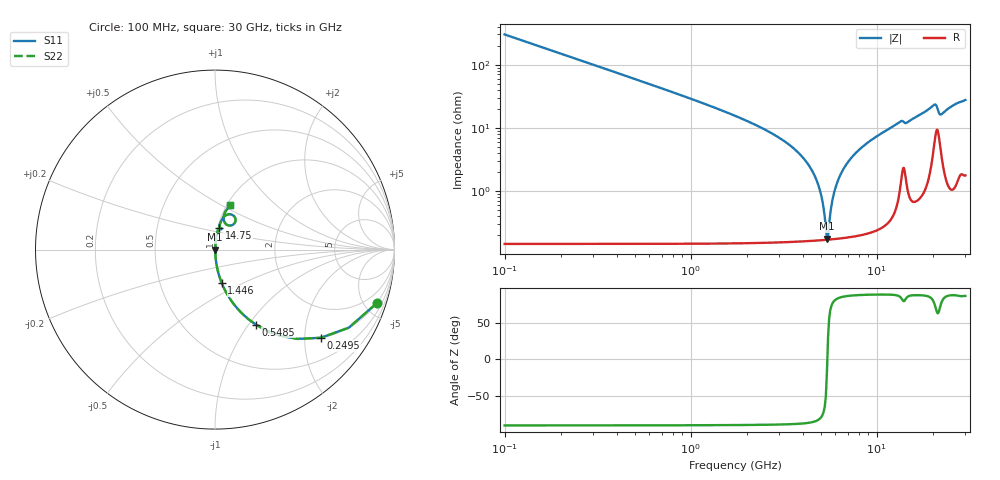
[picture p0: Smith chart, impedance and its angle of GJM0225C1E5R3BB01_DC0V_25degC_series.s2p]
!Murata Part Number: GJM0225C1E5R3BB01
!These Parameters are Measured in Series Mode Connection
!  o--ll--o
!Port1  Port2
!  o------o
!Operation Temp=25[degC], DC Bias Voltage=0[V]
!Freq. Start=100[MHz] Stop=30[GHz], 401[Steps]
!Data Generated on Feb 1, 2023
# Hz S RI R 50
!Freq.(Hz) S11(Real) S11(Imag) S21(Real) S21(Imag) S12(Real) S12(Imag) S22(Real) S22(Imag)
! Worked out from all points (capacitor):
!   401 points, 100 MHz to 30 GHz, reference 50 ohm
!   read as one part in series: C = 5.3 pF near 249.5 MHz
!   lowest |Z| = 178 mohm at 5.407 GHz (marker M1)
!   series resonance near 5.432 GHz, so ESL is about 160 pH
!   S11 on the Smith chart (normalised r, x): 100 MHz: 1.00, -6.00; 249.5 MHz: 1.00, -2.40; 548.5 MHz: 1.00, -1.08; 1.446 GHz: 1.00, -0.39; 14.75 GHz: 1.02, +0.25; 30 GHz: 1.04, +0.55
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1e8  0.9 -0.2998  0.1 0.2998  0.1 0.2998  0.9 -0.2998
2.495e8  0.5905 -0.4911  0.4095 0.4911  0.4095 0.4911  0.5905 -0.4911
5.485e8  0.2276 -0.4179  0.7724 0.4179  0.7724 0.4179  0.2276 -0.4179
8.475e8  0.1078 -0.308  0.8922 0.308  0.8922 0.308  0.1078 -0.308
1.4455e9  0.0373 -0.1856  0.9627 0.1856  0.9627 0.1856  0.0373 -0.1856
4.1365e9  0.00255 -0.0304  0.9975 0.0304  0.9975 0.0304  0.00255 -0.0304
4.7345e9  0.00189 -0.0152  0.9981 0.0152  0.9981 0.0152  0.00189 -0.0152
5.10825e9  0.00173 -0.0068  0.9983 0.0068  0.9983 0.0068  0.00173 -0.0068
5.40725e9  0.00171 -0.0005  0.9983 0.0005  0.9983 0.0005  0.00171 -0.0005
5.55675e9  0.00173 0.00252  0.9983 -0.00252  0.9983 -0.00252  0.00173 0.00252
5.781e9  0.00179 0.00691  0.9982 -0.00691  0.9982 -0.00691  0.00179 0.00691
6.00525e9  0.00188 0.0111  0.9981 -0.0111  0.9981 -0.0111  0.00188 0.0111
6.75275e9  0.00242 0.0244  0.9976 -0.0244  0.9976 -0.0244  0.00242 0.0244
8.09825e9  0.00409 0.0457  0.9959 -0.0457  0.9959 -0.0457  0.00409 0.0457
1.01165e10  0.00801 0.0744  0.992 -0.0744  0.992 -0.0744  0.00801 0.0744
1.34055e10  0.0266 0.1209  0.9734 -0.1209  0.9734 -0.1209  0.0266 0.1209
1.4751e10  0.0244 0.1202  0.9756 -0.1202  0.9756 -0.1202  0.0244 0.1202
1.505e10  0.024 0.1256  0.976 -0.1256  0.976 -0.1256  0.024 0.1256
2.005825e10  0.0784 0.197  0.9216 -0.197  0.9216 -0.197  0.0784 0.197
2.200175e10  0.0673 0.1379  0.9327 -0.1379  0.9327 -0.1379  0.0673 0.1379
2.50665e10  0.0537 0.202  0.9463 -0.202  0.9463 -0.202  0.0537 0.202
3e10  0.0848 0.2483  0.9152 -0.2483  0.9152 -0.2483  0.0848 0.2483
